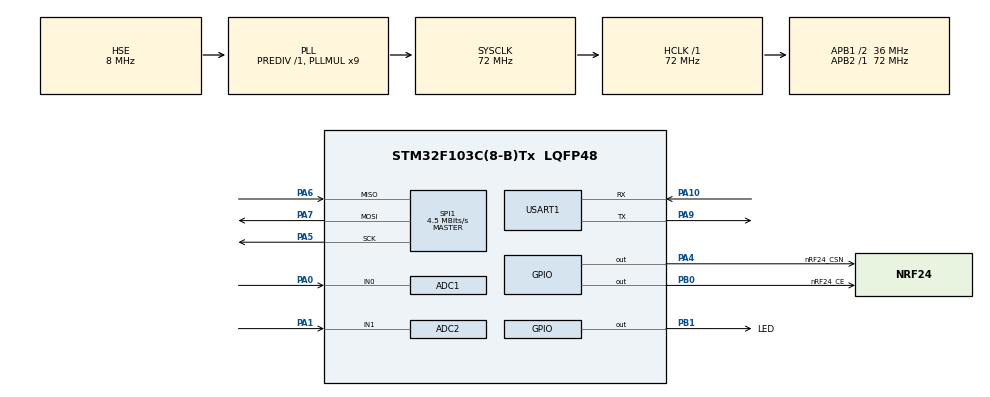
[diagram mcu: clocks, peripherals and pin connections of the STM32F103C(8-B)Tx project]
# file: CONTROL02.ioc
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ADC1.Channel-0\#ChannelRegularConversion=ADC_CHANNEL_0
ADC1.NbrOfConversion=1
ADC1.NbrOfConversionFlag=1
ADC1.Rank-0\#ChannelRegularConversion=1
ADC1.SamplingTime-0\#ChannelRegularConversion=ADC_SAMPLETIME_239CYCLES_5
ADC1.master=1
ADC2.Channel-6\#ChannelRegularConversion=ADC_CHANNEL_1
ADC2.NbrOfConversionFlag=1
ADC2.Rank-6\#ChannelRegularConversion=1
ADC2.SamplingTime-6\#ChannelRegularConversion=ADC_SAMPLETIME_239CYCLES_5
Mcu.Family=STM32F1
Mcu.Name=STM32F103C(8-B)Tx
Mcu.Package=LQFP48
NVIC.PriorityGroup=NVIC_PRIORITYGROUP_4
PA0-WKUP.Signal=ADCx_IN0
PA1.Signal=ADCx_IN1
PA10.Mode=Asynchronous
PA10.Signal=USART1_RX
PA13.Mode=Serial_Wire
PA13.Signal=SYS_JTMS-SWDIO
PA14.Mode=Serial_Wire
PA14.Signal=SYS_JTCK-SWCLK
PA4.GPIO_Label=nRF24_CSN
PA4.Signal=GPIO_Output
PA5.Mode=Full_Duplex_Master
PA5.Signal=SPI1_SCK
PA6.Mode=Full_Duplex_Master
PA6.Signal=SPI1_MISO
PA7.Mode=Full_Duplex_Master
PA7.Signal=SPI1_MOSI
PA9.Mode=Asynchronous
PA9.Signal=USART1_TX
PB0.GPIO_Label=nRF24_CE
PB0.Signal=GPIO_Output
PB1.GPIO_Label=LED
PB1.Signal=GPIO_Output
PD0-OSC_IN.Mode=HSE-External-Oscillator
PD0-OSC_IN.Signal=RCC_OSC_IN
PD1-OSC_OUT.Mode=HSE-External-Oscillator
PD1-OSC_OUT.Signal=RCC_OSC_OUT
ProjectManager.HeapSize=0x200
ProjectManager.StackSize=0x400
ProjectManager.TargetToolchain=STM32CubeIDE
RCC.ADCPresc=RCC_ADCPCLK2_DIV8
RCC.AHBFreq_Value=72000000
RCC.APB1CLKDivider=RCC_HCLK_DIV2
RCC.APB1Freq_Value=36000000
RCC.APB1TimFreq_Value=72000000
RCC.APB2Freq_Value=72000000
RCC.APB2TimFreq_Value=72000000
RCC.HCLKFreq_Value=72000000
RCC.PLLMUL=RCC_PLL_MUL9
RCC.PLLSourceVirtual=RCC_PLLSOURCE_HSE
RCC.SYSCLKFreq_VALUE=72000000
RCC.SYSCLKSource=RCC_SYSCLKSOURCE_PLLCLK
RCC.USBFreq_Value=72000000
SH.ADCx_IN0.0=ADC1_IN0,IN0
SH.ADCx_IN1.0=ADC1_IN1
SH.ADCx_IN1.1=ADC2_IN1,IN1
SPI1.BaudRatePrescaler=SPI_BAUDRATEPRESCALER_16
SPI1.CalculateBaudRate=4.5 MBits/s
SPI1.Direction=SPI_DIRECTION_2LINES
SPI1.Mode=SPI_MODE_MASTER
SPI1.VirtualType=VM_MASTER
USART1.VirtualMode=VM_ASYNC
board=custom

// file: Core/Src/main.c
/* USER CODE BEGIN Header */
/**
  ******************************************************************************
  * @file           : main.c
  * @brief          : Main program body
  ******************************************************************************
  */
/* USER CODE END Header */
#include "main.h"

/* USER CODE BEGIN Includes */
#include "nrf24l01.h"
/* USER CODE END Includes */

/* USER CODE BEGIN PD */
#define TX_MODE   // 定义为发送端
/* USER CODE END PD */

ADC_HandleTypeDef hadc1;
ADC_HandleTypeDef hadc2;

SPI_HandleTypeDef hspi1;

UART_HandleTypeDef huart1;

/* USER CODE BEGIN PV */
uint16_t adc_value = 0;
uint8_t  target_angle = 90;
/* USER CODE END PV */

void SystemClock_Config(void);
static void MX_GPIO_Init(void);
static void MX_SPI1_Init(void);
static void MX_USART1_UART_Init(void);
static void MX_ADC1_Init(void);
static void MX_ADC2_Init(void);

/* USER CODE BEGIN 0 */
#define LED_ON()    HAL_GPIO_WritePin(LED_GPIO_Port, LED_Pin, GPIO_PIN_SET)
#define LED_OFF()   HAL_GPIO_WritePin(LED_GPIO_Port, LED_Pin, GPIO_PIN_RESET)
#define LED_TOGGLE() HAL_GPIO_TogglePin(LED_GPIO_Port, LED_Pin)

void LED_Blink(uint8_t times, uint16_t delay_ms) {
    for (uint8_t i = 0; i < times; i++) {
        LED_ON(); HAL_Delay(delay_ms);
        LED_OFF(); HAL_Delay(delay_ms);
    }
}
/* USER CODE END 0 */

int main(void)
{

  /* MCU Configuration--------------------------------------------------------*/

  /* Reset of all peripherals, Initializes the Flash interface and the Systick. */
  HAL_Init();

  /* Configure the system clock */
  SystemClock_Config();

  /* Initialize all configured peripherals */
  MX_GPIO_Init();
  MX_SPI1_Init();
  MX_USART1_UART_Init();
  MX_ADC1_Init();
  MX_ADC2_Init();
  /* USER CODE BEGIN 2 */
  HAL_ADCEx_Calibration_Start(&hadc1);
  LED_Blink(3, 100);      // 启动指示

  NRF24L01_Init();
  if (!NRF24L01_Check()) {
      while (1) { LED_TOGGLE(); HAL_Delay(500); }
  }
  LED_Blink(5, 50);       // 自检成功
  NRF24L01_TXMode();
  /* USER CODE END 2 */

  /* Infinite loop */
  while (1)
  {

	  /* USER CODE BEGIN 3 */
	      uint16_t adc_ry = 0;   // PA0 - 舵机
	      uint16_t adc_rx = 0;   // PA1 - 油门

	      // 读取 ADC1 (PA0)
	      HAL_ADC_Start(&hadc1);
	      if (HAL_ADC_PollForConversion(&hadc1, 100) == HAL_OK) {
	          adc_ry = HAL_ADC_GetValue(&hadc1);
	      }
	      HAL_ADC_Stop(&hadc1);

	      // 读取 ADC2 (PA1)
	      HAL_ADC_Start(&hadc2);
	      if (HAL_ADC_PollForConversion(&hadc2, 100) == HAL_OK) {
	          adc_rx = HAL_ADC_GetValue(&hadc2);
	      }
	      HAL_ADC_Stop(&hadc2);

	      // 舵机映射：0~4095 -> 0~180°
	      uint8_t steer_angle = (uint8_t)((adc_ry * 180UL) / 4095UL);

	      // 油门映射：中位为0，正向推增加油门
	      int32_t raw = (int32_t)adc_rx - 2048;
	      uint16_t throttle;
	      if (raw < -100) raw = -100;           // 限制下限
	      if (raw > -100 && raw < 100) raw = 0; // 死区
	      if (raw <= 0) {
	          throttle = 0;
	      } else {
	          throttle = (uint16_t)((raw * 1000UL) / 2047UL);
	      }
	      // 限制最大油门为 500（可根据需要调整，范围 0~1000）
	      if (throttle > 500) throttle = 750;

	      uint8_t tx_data[3];
	      tx_data[0] = steer_angle;
	      tx_data[1] = (throttle >> 8) & 0xFF;
	      tx_data[2] = throttle & 0xFF;
	      NRF24L01_SendPacket(tx_data, 3);

	      uint16_t blink_delay = 200 - (steer_angle * 170 / 180);
	      LED_ON(); HAL_Delay(blink_delay); LED_OFF(); HAL_Delay(blink_delay);
	      HAL_Delay(20);
  }
	  /* USER CODE END 3 */
}

void SystemClock_Config(void)
{
  RCC_OscInitTypeDef RCC_OscInitStruct = {0};
  RCC_ClkInitTypeDef RCC_ClkInitStruct = {0};
  RCC_PeriphCLKInitTypeDef PeriphClkInit = {0};

  /** Initializes the RCC Oscillators according to the specified parameters
  * in the RCC_OscInitTypeDef structure.
  */
  RCC_OscInitStruct.OscillatorType = RCC_OSCILLATORTYPE_HSE;
  RCC_OscInitStruct.HSEState = RCC_HSE_ON;
  RCC_OscInitStruct.HSEPredivValue = RCC_HSE_PREDIV_DIV1;
  RCC_OscInitStruct.HSIState = RCC_HSI_ON;
  RCC_OscInitStruct.PLL.PLLState = RCC_PLL_ON;
  RCC_OscInitStruct.PLL.PLLSource = RCC_PLLSOURCE_HSE;
  RCC_OscInitStruct.PLL.PLLMUL = RCC_PLL_MUL9;
  if (HAL_RCC_OscConfig(&RCC_OscInitStruct) != HAL_OK)
  {
    Error_Handler();
  }

  /** Initializes the CPU, AHB and APB buses clocks
  */
  RCC_ClkInitStruct.ClockType = RCC_CLOCKTYPE_HCLK|RCC_CLOCKTYPE_SYSCLK
                              |RCC_CLOCKTYPE_PCLK1|RCC_CLOCKTYPE_PCLK2;
  RCC_ClkInitStruct.SYSCLKSource = RCC_SYSCLKSOURCE_PLLCLK;
  RCC_ClkInitStruct.AHBCLKDivider = RCC_SYSCLK_DIV1;
  RCC_ClkInitStruct.APB1CLKDivider = RCC_HCLK_DIV2;
  RCC_ClkInitStruct.APB2CLKDivider = RCC_HCLK_DIV1;

  if (HAL_RCC_ClockConfig(&RCC_ClkInitStruct, FLASH_LATENCY_2) != HAL_OK)
  {
    Error_Handler();
  }
  PeriphClkInit.PeriphClockSelection = RCC_PERIPHCLK_ADC;
  PeriphClkInit.AdcClockSelection = RCC_ADCPCLK2_DIV8;
  if (HAL_RCCEx_PeriphCLKConfig(&PeriphClkInit) != HAL_OK)
  {
    Error_Handler();
  }
}

static void MX_ADC1_Init(void)
{

  ADC_ChannelConfTypeDef sConfig = {0};

  /** Common config
  */
  hadc1.Instance = ADC1;
  hadc1.Init.ScanConvMode = ADC_SCAN_DISABLE;
  hadc1.Init.ContinuousConvMode = DISABLE;
  hadc1.Init.DiscontinuousConvMode = DISABLE;
  hadc1.Init.ExternalTrigConv = ADC_SOFTWARE_START;
  hadc1.Init.DataAlign = ADC_DATAALIGN_RIGHT;
  hadc1.Init.NbrOfConversion = 1;
  if (HAL_ADC_Init(&hadc1) != HAL_OK)
  {
    Error_Handler();
  }

  /** Configure Regular Channel
  */
  sConfig.Channel = ADC_CHANNEL_0;
  sConfig.Rank = ADC_REGULAR_RANK_1;
  sConfig.SamplingTime = ADC_SAMPLETIME_239CYCLES_5;
  if (HAL_ADC_ConfigChannel(&hadc1, &sConfig) != HAL_OK)
  {
    Error_Handler();
  }

}

static void MX_ADC2_Init(void)
{

  ADC_ChannelConfTypeDef sConfig = {0};

  /** Common config
  */
  hadc2.Instance = ADC2;
  hadc2.Init.ScanConvMode = ADC_SCAN_DISABLE;
  hadc2.Init.ContinuousConvMode = DISABLE;
  hadc2.Init.DiscontinuousConvMode = DISABLE;
  hadc2.Init.ExternalTrigConv = ADC_SOFTWARE_START;
  hadc2.Init.DataAlign = ADC_DATAALIGN_RIGHT;
  hadc2.Init.NbrOfConversion = 1;
  if (HAL_ADC_Init(&hadc2) != HAL_OK)
  {
    Error_Handler();
  }

  /** Configure Regular Channel
  */
  sConfig.Channel = ADC_CHANNEL_1;
  sConfig.Rank = ADC_REGULAR_RANK_1;
  sConfig.SamplingTime = ADC_SAMPLETIME_239CYCLES_5;
  if (HAL_ADC_ConfigChannel(&hadc2, &sConfig) != HAL_OK)
  {
    Error_Handler();
  }

}

static void MX_SPI1_Init(void)
{

  /* SPI1 parameter configuration*/
  hspi1.Instance = SPI1;
  hspi1.Init.Mode = SPI_MODE_MASTER;
  hspi1.Init.Direction = SPI_DIRECTION_2LINES;
  hspi1.Init.DataSize = SPI_DATASIZE_8BIT;
  hspi1.Init.CLKPolarity = SPI_POLARITY_LOW;
  hspi1.Init.CLKPhase = SPI_PHASE_1EDGE;
  hspi1.Init.NSS = SPI_NSS_SOFT;
  hspi1.Init.BaudRatePrescaler = SPI_BAUDRATEPRESCALER_16;
  hspi1.Init.FirstBit = SPI_FIRSTBIT_MSB;
  hspi1.Init.TIMode = SPI_TIMODE_DISABLE;
  hspi1.Init.CRCCalculation = SPI_CRCCALCULATION_DISABLE;
  hspi1.Init.CRCPolynomial = 10;
  if (HAL_SPI_Init(&hspi1) != HAL_OK)
  {
    Error_Handler();
  }

}

static void MX_USART1_UART_Init(void)
{

  huart1.Instance = USART1;
  huart1.Init.BaudRate = 115200;
  huart1.Init.WordLength = UART_WORDLENGTH_8B;
  huart1.Init.StopBits = UART_STOPBITS_1;
  huart1.Init.Parity = UART_PARITY_NONE;
  huart1.Init.Mode = UART_MODE_TX_RX;
  huart1.Init.HwFlowCtl = UART_HWCONTROL_NONE;
  huart1.Init.OverSampling = UART_OVERSAMPLING_16;
  if (HAL_UART_Init(&huart1) != HAL_OK)
  {
    Error_Handler();
  }

}

static void MX_GPIO_Init(void)
{
  GPIO_InitTypeDef GPIO_InitStruct = {0};

  /* GPIO Ports Clock Enable */
  __HAL_RCC_GPIOD_CLK_ENABLE();
  __HAL_RCC_GPIOA_CLK_ENABLE();
  __HAL_RCC_GPIOB_CLK_ENABLE();

  /*Configure GPIO pin Output Level */
  HAL_GPIO_WritePin(nRF24_CSN_GPIO_Port, nRF24_CSN_Pin, GPIO_PIN_RESET);

  /*Configure GPIO pin Output Level */
  HAL_GPIO_WritePin(GPIOB, nRF24_CE_Pin|LED_Pin, GPIO_PIN_RESET);

  /*Configure GPIO pin : nRF24_CSN_Pin */
  GPIO_InitStruct.Pin = nRF24_CSN_Pin;
  GPIO_InitStruct.Mode = GPIO_MODE_OUTPUT_PP;
  GPIO_InitStruct.Pull = GPIO_NOPULL;
  GPIO_InitStruct.Speed = GPIO_SPEED_FREQ_LOW;
  HAL_GPIO_Init(nRF24_CSN_GPIO_Port, &GPIO_InitStruct);

  /*Configure GPIO pins : nRF24_CE_Pin LED_Pin */
  GPIO_InitStruct.Pin = nRF24_CE_Pin|LED_Pin;
  GPIO_InitStruct.Mode = GPIO_MODE_OUTPUT_PP;
  GPIO_InitStruct.Pull = GPIO_NOPULL;
  GPIO_InitStruct.Speed = GPIO_SPEED_FREQ_LOW;
  HAL_GPIO_Init(GPIOB, &GPIO_InitStruct);

}

void Error_Handler(void)
{
  __disable_irq();
  while (1)
  {
  }
}
